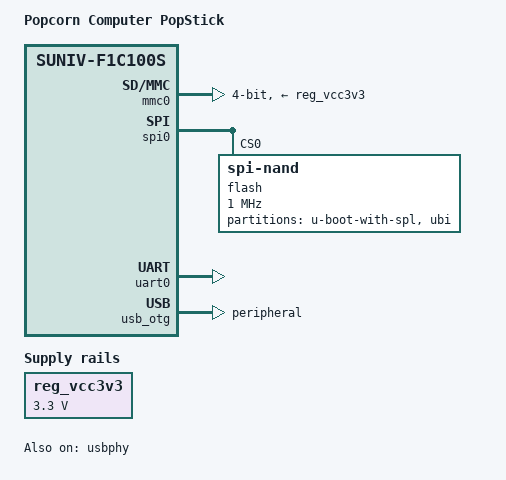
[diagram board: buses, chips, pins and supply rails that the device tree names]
// SPDX-License-Identifier: (GPL-2.0+ OR MIT)
/*
 * Copyright 2022 Icenowy Zheng <uwu@icenowy.me>
 */

/dts-v1/;
#include "suniv-f1c100s.dtsi"

#include <dt-bindings/gpio/gpio.h>

/ {
	model = "Popcorn Computer PopStick";
	compatible = "sourceparts,popstick", "allwinner,suniv-f1c200s",
		     "allwinner,suniv-f1c100s";

	aliases {
		mmc0 = &mmc0;
		serial0 = &uart0;
		spi0 = &spi0;
	};

	chosen {
		stdout-path = "serial0:115200n8";
	};

	reg_vcc3v3: vcc3v3 {
		compatible = "regulator-fixed";
		regulator-name = "vcc3v3";
		regulator-min-microvolt = <3300000>;
		regulator-max-microvolt = <3300000>;
	};
};

&mmc0 {
	broken-cd;
	bus-width = <4>;
	disable-wp;
	status = "okay";
	vmmc-supply = <&reg_vcc3v3>;
};

&spi0 {
	pinctrl-names = "default";
	pinctrl-0 = <&spi0_pc_pins>;
	status = "okay";

	flash@0 {
		#address-cells = <1>;
		#size-cells = <1>;
		compatible = "spi-nand";
		reg = <0>;
		spi-max-frequency = <1000000>;

		partitions {
			compatible = "fixed-partitions";
			#address-cells = <1>;
			#size-cells = <1>;
	
			partition@0 {
				label = "u-boot-with-spl";
				reg = <0x0 0x100000>;
			};

			ubi@100000 {
				label = "ubi";
				reg = <0x100000 0x7f00000>;
			};
		};
	};
};

&otg_sram {
	status = "okay";
};

&uart0 {
	pinctrl-names = "default";
	pinctrl-0 = <&uart0_pe_pins>;
	status = "okay";
};

&usb_otg {
	dr_mode = "peripheral";
	status = "okay";
};

&usbphy {
	status = "okay";
};
